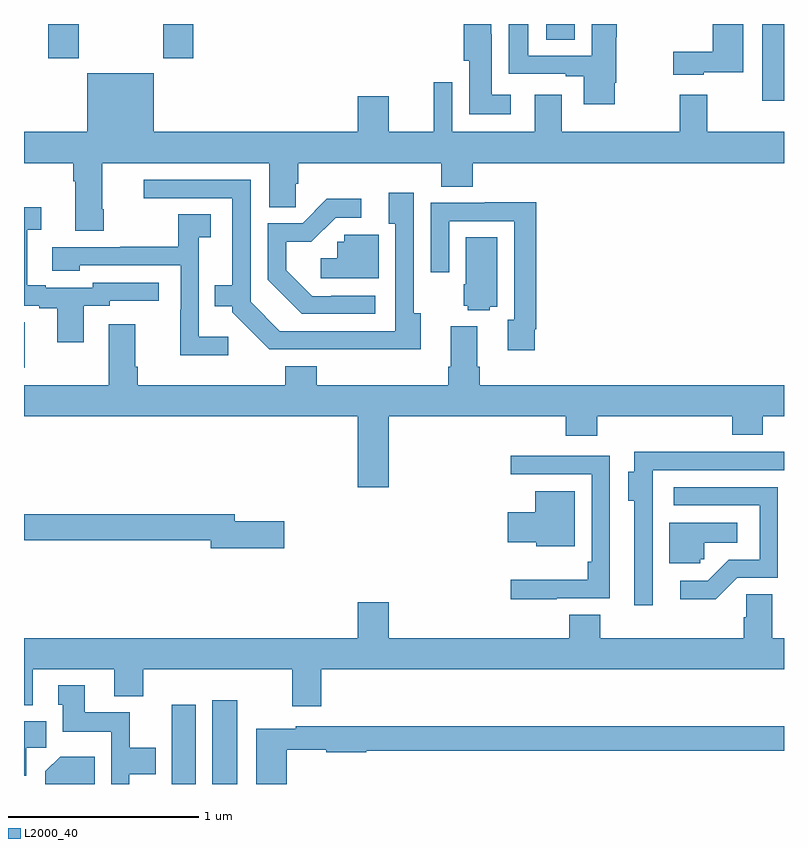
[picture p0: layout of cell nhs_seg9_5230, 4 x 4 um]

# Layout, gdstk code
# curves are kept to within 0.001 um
import gdstk
lib = gdstk.Library(unit=1e-6, precision=1e-09)
def R(c, l, rs):  # rectangles x0, y0, x1, y1
    for r in rs: c.add(gdstk.rectangle(r[:2], r[2:], *l))
def P(c, l, *ps):  # polygons
    for p in ps: c.add(gdstk.Polygon(p, *l))
L2000_40 = (2000, 40)

nhs_seg9_5230 = lib.new_cell('nhs_seg9_5230')
R(nhs_seg9_5230, L2000_40, [(415.778,1178.5,415.903,1178.917), (415.991,1178.5,416.122,1178.941), (415,1180.692,415.003,1180.931), (418.886,1182.096,419,1182.5), (415.127,1182.321,415.287,1182.5), (415.732,1182.321,415.892,1182.5), (417.749,1182.418,417.898,1182.5)])
P(nhs_seg9_5230, L2000_40, [(418.578,1182.245),(418.786,1182.245),(418.786,1182.5),(418.624,1182.5),(418.624,1182.355),(418.416,1182.355),(418.416,1182.233),(418.578,1182.233)],
  [(417.562,1182.127),(417.463,1182.127),(417.463,1182.446),(417.459,1182.446),(417.459,1182.5),(417.314,1182.5),(417.314,1182.306),(417.344,1182.306),(417.344,1182.026),(417.562,1182.026)],
  [(418.108,1182.19),(418.116,1182.19),(418.116,1182.43),(418.121,1182.43),(418.121,1182.5),(417.989,1182.5),(417.989,1182.333),(417.655,1182.333),(417.655,1182.5),(417.551,1182.5),(417.551,1182.237),(417.851,1182.237),(417.851,1182.225),(417.947,1182.225),(417.947,1182.078),(418.108,1182.078)],
  [(417.088,1180.978),(417.051,1180.978),(417.051,1181.611),(416.921,1181.611),(416.921,1181.45),(416.955,1181.45),(416.955,1180.884),(416.346,1180.884),(416.193,1181.037),(416.193,1181.679),(415.629,1181.679),(415.629,1181.583),(416.096,1181.583),(416.096,1181.125),(416.005,1181.125),(416.005,1181.015),(416.097,1181.015),(416.097,1180.983),(416.292,1180.788),(417.088,1180.787)],
  [(416.848,1181.07),(416.617,1181.07),(416.617,1181.067),(416.517,1181.067),(416.38,1181.204),(416.38,1181.354),(416.513,1181.354),(416.64,1181.481),(416.776,1181.481),(416.776,1181.579),(416.594,1181.579),(416.466,1181.451),(416.283,1181.451),(416.283,1181.153),(416.462,1180.974),(416.848,1180.974)],
  [(417.688,1180.894),(417.695,1180.894),(417.695,1181.563),(417.425,1181.563),(417.425,1181.559),(417.141,1181.559),(417.141,1181.193),(417.237,1181.193),(417.237,1181.463),(417.579,1181.463),(417.579,1180.943),(417.545,1180.943),(417.545,1180.782),(417.688,1180.782)],
  [(415.315,1181.016),(415.452,1181.016),(415.452,1181.043),(415.708,1181.043),(415.708,1181.139),(415.362,1181.139),(415.362,1181.112),(415.114,1181.112),(415.114,1181.125),(415.018,1181.125),(415.018,1181.416),(415.09,1181.416),(415.09,1181.536),(415,1181.536),(415,1181.016),(415.079,1181.016),(415.079,1181.004),(415.175,1181.004),(415.175,1180.824),(415.315,1180.824)],
  [(416.291,1181.768),(416.291,1181.536),(416.429,1181.536),(416.429,1181.658),(416.444,1181.658),(416.444,1181.768),(417.197,1181.768),(417.197,1181.644),(417.362,1181.644),(417.362,1181.768),(419,1181.768),(419,1181.932),(418.597,1181.932),(418.597,1182.127),(418.45,1182.127),(418.45,1181.932),(417.829,1181.932),(417.829,1182.127),(417.689,1182.127),(417.689,1181.932),(417.255,1181.932),(417.255,1182.193),(417.157,1182.193),(417.157,1181.932),(416.92,1181.932),(416.92,1182.121),(416.756,1182.121),(416.756,1181.932),(415.684,1181.932),(415.684,1182.241),(415.334,1182.241),(415.334,1181.932),(415,1181.932),(415,1181.768),(415.259,1181.768),(415.259,1181.672),(415.271,1181.672),(415.271,1181.412),(415.419,1181.412),(415.419,1181.524),(415.411,1181.524),(415.411,1181.768)],
  [(416.074,1180.855),(415.92,1180.855),(415.92,1181.377),(415.984,1181.377),(415.984,1181.498),(415.812,1181.498),(415.812,1181.328),(415.507,1181.328),(415.507,1181.325),(415.149,1181.325),(415.149,1181.201),(415.293,1181.201),(415.293,1181.229),(415.824,1181.229),(415.824,1180.997),(415.822,1180.997),(415.822,1180.757),(416.074,1180.757)],
  [(416.866,1181.391),(416.685,1181.391),(416.685,1181.355),(416.649,1181.355),(416.649,1181.266),(416.562,1181.266),(416.562,1181.163),(416.866,1181.163)],
  [(417.45,1181.012),(417.49,1181.012),(417.49,1181.378),(417.326,1181.378),(417.326,1181.13),(417.314,1181.13),(417.314,1181.016),(417.336,1181.016),(417.336,1180.994),(417.45,1180.994)],
  [(416.92,1180.436),(417.851,1180.436),(417.851,1180.334),(418.016,1180.334),(418.016,1180.436),(418.727,1180.436),(418.727,1180.337),(418.887,1180.337),(418.887,1180.436),(419,1180.436),(419,1180.6),(417.398,1180.6),(417.398,1180.696),(417.385,1180.696),(417.385,1180.909),(417.245,1180.909),(417.245,1180.696),(417.233,1180.696),(417.233,1180.6),(416.54,1180.6),(416.54,1180.699),(416.375,1180.699),(416.375,1180.6),(415.598,1180.6),(415.598,1180.696),(415.585,1180.696),(415.585,1180.921),(415.445,1180.921),(415.445,1180.6),(415,1180.6),(415,1180.436),(416.756,1180.436),(416.756,1180.062),(416.92,1180.062)],
  [(418.308,1180.152),(419,1180.152),(419,1180.25),(418.958,1180.25),(418.958,1180.248),(418.643,1180.248),(418.643,1180.25),(418.212,1180.25),(418.212,1180.144),(418.181,1180.144),(418.181,1179.992),(418.212,1179.992),(418.212,1179.441),(418.308,1179.441)],
  [(417.805,1179.477),(418.083,1179.477),(418.083,1180.227),(417.561,1180.227),(417.561,1180.131),(417.987,1180.131),(417.987,1179.67),(417.967,1179.67),(417.967,1179.574),(417.561,1179.574),(417.561,1179.473),(417.805,1179.473)],
  [(418.755,1179.585),(418.968,1179.585),(418.968,1180.062),(418.419,1180.062),(418.419,1179.966),(418.872,1179.966),(418.872,1179.681),(418.71,1179.681),(418.599,1179.57),(418.455,1179.57),(418.455,1179.473),(418.642,1179.473)],
  [(417.898,1180.042),(417.692,1180.042),(417.692,1179.931),(417.546,1179.931),(417.546,1179.773),(417.696,1179.773),(417.696,1179.752),(417.898,1179.752)],
  [(416.371,1179.884),(416.11,1179.884),(416.11,1179.92),(415,1179.92),(415,1179.784),(415.982,1179.784),(415.982,1179.742),(416.371,1179.742)],
  [(418.56,1179.684),(418.581,1179.684),(418.581,1179.77),(418.753,1179.77),(418.753,1179.874),(418.397,1179.874),(418.397,1179.663),(418.56,1179.663)],
  [(416.564,1179.104),(419,1179.104),(419,1179.268),(418.939,1179.268),(418.939,1179.5),(418.8,1179.5),(418.8,1179.377),(418.787,1179.377),(418.787,1179.268),(418.034,1179.268),(418.034,1179.392),(417.869,1179.392),(417.869,1179.268),(416.92,1179.268),(416.92,1179.457),(416.756,1179.457),(416.756,1179.268),(415,1179.268),(415,1178.915),(415.045,1178.915),(415.045,1179.104),(415.475,1179.104),(415.475,1178.963),(415.628,1178.963),(415.628,1179.104),(416.411,1179.104),(416.411,1178.91),(416.564,1178.91)],
  [(415.554,1178.552),(415.693,1178.552),(415.693,1178.692),(415.557,1178.692),(415.557,1178.878),(415.321,1178.878),(415.321,1179.019),(415.181,1179.019),(415.181,1178.916),(415.205,1178.916),(415.205,1178.774),(415.458,1178.774),(415.458,1178.5),(415.554,1178.5)],
  [(415.012,1178.692),(415.117,1178.692),(415.117,1178.83),(415,1178.83),(415,1178.544),(415.012,1178.544)],
  [(416.384,1178.681),(416.592,1178.681),(416.592,1178.666),(416.802,1178.666),(416.802,1178.674),(419,1178.674),(419,1178.803),(416.43,1178.803),(416.43,1178.791),(416.222,1178.791),(416.222,1178.5),(416.384,1178.5)],
  [(415.373,1178.644),(415.19,1178.644),(415.112,1178.566),(415.112,1178.5),(415.373,1178.5)])

lib.write_gds('nhs_seg9_5230.gds')
